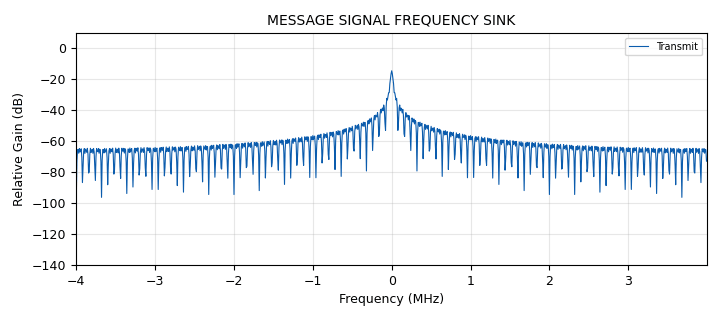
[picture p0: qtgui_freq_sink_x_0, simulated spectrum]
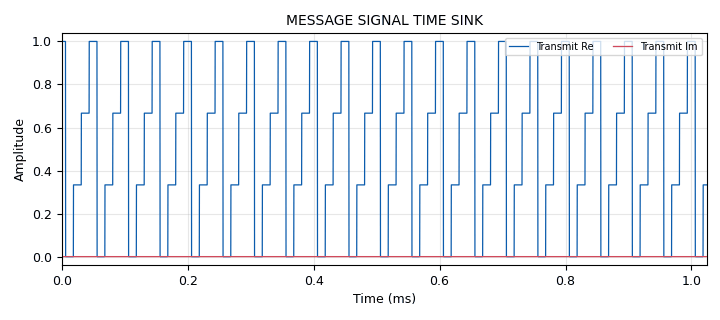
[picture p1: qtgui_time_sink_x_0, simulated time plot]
options:
  parameters:
    author: raam
    generate_options: qt_gui
    id: ASK_TX
    output_language: python
    title: ASK_TX
  states: {}

blocks:
- name: center_freq
  id: variable
  parameters:
    value: 915e6
  states: {}
- name: samp_rate
  id: variable
  parameters:
    value: '8000000'
  states: {}
- name: sps
  id: variable
  parameters:
    value: '100'
  states: {}
- name: tx_Frequency
  id: variable_qtgui_range
  parameters:
    label: TX Frequecny
    start: '915009000'
    step: '1'
    stop: '915020000'
    value: '915013200'
  states: {}
- name: tx_gain
  id: variable_qtgui_range
  parameters:
    label: TX GAIN
    start: '10'
    step: '1'
    stop: '47'
    value: '20'
  states: {}
- name: tx_gain_0
  id: variable_qtgui_range
  parameters:
    label: TX GAIN
    start: '10'
    step: '1'
    stop: '64'
    value: '60'
  states: {}
- name: blocks_repeat_0
  id: blocks_repeat
  parameters:
    interp: sps
    type: complex
  states: {}
- name: blocks_vector_source_x_0
  id: blocks_vector_source_x
  parameters:
    repeat: 'True'
    type: complex
    vector: '[0, 1/3, 2/3, 1]'
  states: {}
- name: osmosdr_sink_0
  id: osmosdr_sink
  parameters:
    bb_gain0: '20'
    bw0: 1e6
    freq0: tx_Frequency
    gain0: '20'
    if_gain0: tx_gain
    sample_rate: samp_rate
    sync: sync
    type: fc32
  states: {state: disabled}
- name: qtgui_freq_sink_x_0
  id: qtgui_freq_sink_x
  parameters:
    bw: samp_rate
    fc: '0'
    fftsize: '1024'
    label1: Transmit
    name: '"MESSAGE SIGNAL FREQUENCY SINK"'
    type: complex
  states: {}
- name: qtgui_time_sink_x_0
  id: qtgui_time_sink_x
  parameters:
    label1: Transmit Re
    label2: Transmit Im
    name: '"MESSAGE SIGNAL TIME SINK"'
    size: 1024*8
    srate: samp_rate
    type: complex
    ymin: '0'
  states: {}
- name: soapy_limesdr_sink_0
  id: soapy_limesdr_sink
  parameters:
    center_freq: tx_Frequency
    gain: tx_gain
    samp_rate: samp_rate
    type: fc32
  states: {}

connections:
- [blocks_repeat_0, '0', osmosdr_sink_0, '0']
- [blocks_repeat_0, '0', qtgui_freq_sink_x_0, '0']
- [blocks_repeat_0, '0', qtgui_time_sink_x_0, '0']
- [blocks_repeat_0, '0', soapy_limesdr_sink_0, '0']
- [blocks_vector_source_x_0, '0', blocks_repeat_0, '0']

metadata:
  file_format: 1
